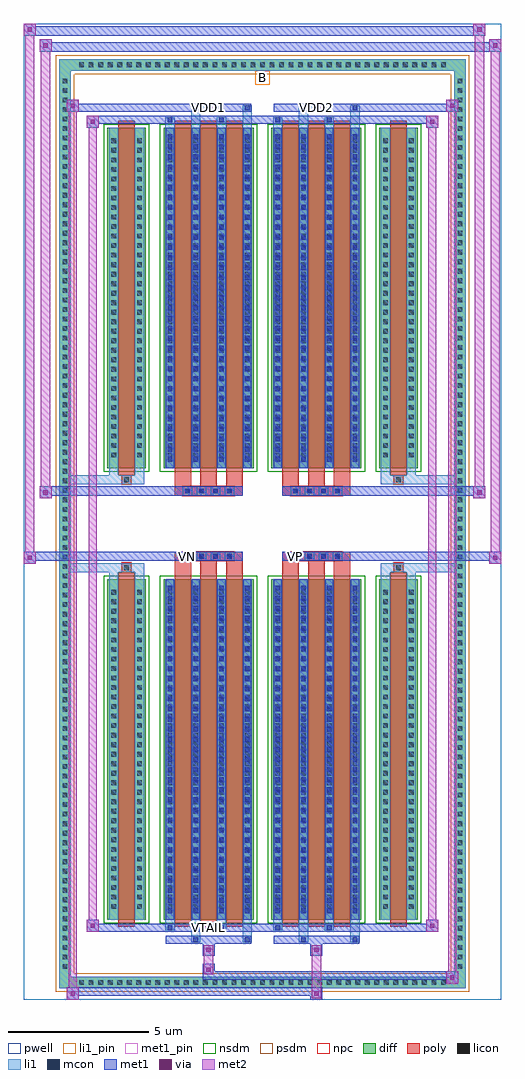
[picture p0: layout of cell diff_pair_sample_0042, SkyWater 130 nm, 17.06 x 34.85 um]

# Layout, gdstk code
import gdstk
lib = gdstk.Library(unit=1e-6, precision=5e-09)
def R(c, l, rs):  # rectangles x0, y0, x1, y1
    for r in rs: c.add(gdstk.rectangle(r[:2], r[2:], *l))
def A(c, l, x, y, w, h, nx, ny, dx, dy):  # array of equal rectangles
    R(c, l, [(x+i*dx, y+j*dy, x+i*dx+w, y+j*dy+h) for i in range(nx) for j in range(ny)])
def P(c, l, *ps):  # polygons
    for p in ps: c.add(gdstk.Polygon(p, *l))
pwell = (64, 44)
diff = (65, 20)
poly = (66, 20)
licon = (66, 44)
li1_pin = (67, 16)
li1 = (67, 20)
mcon = (67, 44)
met1_pin = (68, 16)
met1 = (68, 20)
via = (68, 44)
met2 = (69, 20)
nsdm = (93, 44)
psdm = (94, 20)
npc = (95, 20)

diff_pair_sample_0042 = lib.new_cell('diff_pair_sample_0042')
R(diff_pair_sample_0042, pwell, [(-8.53,-16.99,8.53,17.86), (-5.85,-15.18,-0.01,-0.8), (0.01,-15.18,5.85,-0.8), (-5.85,0.8,-0.01,15.18), (0.01,0.8,5.85,15.18)])
A(diff_pair_sample_0042, diff, -6.665, -16.59, 0.41, 0.41, 39, 2, 0.34, 32.77)
A(diff_pair_sample_0042, diff, -7.26, -16.015, 0.41, 0.41, 1, 94, 0, 0.34)
A(diff_pair_sample_0042, diff, 6.85, -16.015, 0.41, 0.41, 1, 94, 0, 0.34)
R(diff_pair_sample_0042, diff, [(-6.665,-16.59,6.665,-16.18), (-7.26,-16.015,-6.85,16.015), (6.85,-16.015,7.26,16.015), (-5.54,-14.135,-4.17,-1.985), (-3.53,-14.135,-0.32,-1.985), (0.32,-14.135,3.53,-1.985), (4.17,-14.135,5.54,-1.985), (-5.54,1.985,-4.17,14.135), (-3.53,1.985,-0.32,14.135), (0.32,1.985,3.53,14.135), (4.17,1.985,5.54,14.135), (-6.665,16.18,6.665,16.59)])
P(diff_pair_sample_0042, diff, [(7.26,16.59),(-7.26,16.59),(-7.26,-16.18),(-6.85,-16.18),(-6.85,16.18),(6.85,16.18),(6.85,-16.18),(-6.85,-16.18),(-7.26,-16.18),(-7.26,-16.59),(7.26,-16.59)])
A(diff_pair_sample_0042, poly, -3.14, -14.385, 0.59, 12.65, 3, 2, 0.92, 16.12)
A(diff_pair_sample_0042, poly, 0.71, -14.385, 0.59, 12.65, 3, 2, 0.92, 16.12)
A(diff_pair_sample_0042, poly, -3.14, -1.735, 0.59, 0.405, 3, 2, 0.92, 3.065)
A(diff_pair_sample_0042, poly, 0.71, -1.735, 0.59, 0.405, 3, 2, 0.92, 3.065)
A(diff_pair_sample_0042, poly, -2.84, -1.33, 0.33, 0.33, 4, 2, 0.5, 2.33)
A(diff_pair_sample_0042, poly, 1.01, -1.33, 0.33, 0.33, 4, 2, 0.5, 2.33)
R(diff_pair_sample_0042, poly, [(-5.15,-14.385,-4.56,-1.735), (4.56,-14.385,5.15,-1.735), (-5.02,-1.735,-4.69,-1.405), (-5.02,-1.735,-4.69,-1.405), (4.69,-1.735,5.02,-1.405), (4.69,-1.735,5.02,-1.405), (-3.14,-1.33,-0.71,-1), (0.71,-1.33,3.14,-1), (-3.14,1,-0.71,1.33), (0.71,1,3.14,1.33), (-5.02,1.405,-4.69,1.735), (-5.02,1.405,-4.69,1.735), (4.69,1.405,5.02,1.735), (4.69,1.405,5.02,1.735), (-5.15,1.735,-4.56,14.385), (4.56,1.735,5.15,14.385)])
A(diff_pair_sample_0042, licon, -6.545, -16.47, 0.17, 0.17, 39, 2, 0.34, 32.77)
A(diff_pair_sample_0042, licon, -7.14, -15.895, 0.17, 0.17, 1, 94, 0, 0.34)
A(diff_pair_sample_0042, licon, 6.97, -15.895, 0.17, 0.17, 1, 94, 0, 0.34)
A(diff_pair_sample_0042, licon, -5.4, -13.755, 0.17, 0.17, 1, 34, 0, 0.34)
A(diff_pair_sample_0042, licon, -4.48, -13.755, 0.17, 0.17, 1, 34, 0, 0.34)
A(diff_pair_sample_0042, licon, -3.39, -13.755, 0.17, 0.17, 4, 34, 0.92, 0.34)
A(diff_pair_sample_0042, licon, 0.46, -13.755, 0.17, 0.17, 4, 34, 0.92, 0.34)
A(diff_pair_sample_0042, licon, 4.31, -13.755, 0.17, 0.17, 1, 34, 0, 0.34)
A(diff_pair_sample_0042, licon, 5.23, -13.755, 0.17, 0.17, 1, 34, 0, 0.34)
A(diff_pair_sample_0042, licon, -2.76, -1.25, 0.17, 0.17, 4, 2, 0.5, 2.33)
A(diff_pair_sample_0042, licon, 1.09, -1.25, 0.17, 0.17, 4, 2, 0.5, 2.33)
A(diff_pair_sample_0042, licon, -5.4, 2.365, 0.17, 0.17, 1, 34, 0, 0.34)
A(diff_pair_sample_0042, licon, -4.48, 2.365, 0.17, 0.17, 1, 34, 0, 0.34)
A(diff_pair_sample_0042, licon, -3.39, 2.365, 0.17, 0.17, 4, 34, 0.92, 0.34)
A(diff_pair_sample_0042, licon, 0.46, 2.365, 0.17, 0.17, 4, 34, 0.92, 0.34)
A(diff_pair_sample_0042, licon, 4.31, 2.365, 0.17, 0.17, 1, 34, 0, 0.34)
A(diff_pair_sample_0042, licon, 5.23, 2.365, 0.17, 0.17, 1, 34, 0, 0.34)
R(diff_pair_sample_0042, licon, [(-4.94,-1.655,-4.77,-1.485), (4.77,-1.655,4.94,-1.485), (-4.94,1.485,-4.77,1.655), (4.77,1.485,4.94,1.655)])
R(diff_pair_sample_0042, li1_pin, [(-0.25,15.68,0.25,16.18)])
A(diff_pair_sample_0042, li1, -6.625, -16.55, 0.33, 0.33, 39, 2, 0.34, 32.77)
A(diff_pair_sample_0042, li1, -7.22, -15.975, 0.33, 0.33, 1, 94, 0, 0.34)
A(diff_pair_sample_0042, li1, 6.89, -15.975, 0.33, 0.33, 1, 94, 0, 0.34)
A(diff_pair_sample_0042, li1, -3.47, -14.135, 0.33, 12.15, 4, 2, 0.92, 16.12)
A(diff_pair_sample_0042, li1, 0.38, -14.135, 0.33, 12.15, 4, 2, 0.92, 16.12)
A(diff_pair_sample_0042, li1, -3.39, -13.905, 0.17, 0.17, 4, 33, 0.92, 0.36)
A(diff_pair_sample_0042, li1, -3.39, -13.905, 0.17, 11.69, 4, 2, 0.92, 16.12)
A(diff_pair_sample_0042, li1, 0.46, -13.905, 0.17, 0.17, 4, 33, 0.92, 0.36)
A(diff_pair_sample_0042, li1, 0.46, -13.905, 0.17, 11.69, 4, 2, 0.92, 16.12)
A(diff_pair_sample_0042, li1, -5.48, -13.835, 0.33, 0.33, 1, 34, 0, 0.34)
A(diff_pair_sample_0042, li1, -4.56, -13.835, 0.33, 0.33, 1, 34, 0, 0.34)
A(diff_pair_sample_0042, li1, -3.47, -13.835, 0.33, 0.33, 4, 34, 0.92, 0.34)
A(diff_pair_sample_0042, li1, 0.38, -13.835, 0.33, 0.33, 4, 34, 0.92, 0.34)
A(diff_pair_sample_0042, li1, 4.23, -13.835, 0.33, 0.33, 1, 34, 0, 0.34)
A(diff_pair_sample_0042, li1, 5.15, -13.835, 0.33, 0.33, 1, 34, 0, 0.34)
A(diff_pair_sample_0042, li1, -2.84, -1.33, 0.33, 0.33, 4, 2, 0.5, 2.33)
A(diff_pair_sample_0042, li1, 1.01, -1.33, 0.33, 0.33, 4, 2, 0.5, 2.33)
A(diff_pair_sample_0042, li1, -3.39, 2.215, 0.17, 0.17, 4, 33, 0.92, 0.36)
A(diff_pair_sample_0042, li1, 0.46, 2.215, 0.17, 0.17, 4, 33, 0.92, 0.36)
A(diff_pair_sample_0042, li1, -5.48, 2.285, 0.33, 0.33, 1, 34, 0, 0.34)
A(diff_pair_sample_0042, li1, -4.56, 2.285, 0.33, 0.33, 1, 34, 0, 0.34)
A(diff_pair_sample_0042, li1, -3.47, 2.285, 0.33, 0.33, 4, 34, 0.92, 0.34)
A(diff_pair_sample_0042, li1, 0.38, 2.285, 0.33, 0.33, 4, 34, 0.92, 0.34)
A(diff_pair_sample_0042, li1, 4.23, 2.285, 0.33, 0.33, 1, 34, 0, 0.34)
A(diff_pair_sample_0042, li1, 5.15, 2.285, 0.33, 0.33, 1, 34, 0, 0.34)
R(diff_pair_sample_0042, li1, [(-7.26,-16.59,-6.85,-16.18), (-7.26,-16.59,-6.85,-16.18), (-6.85,-16.59,6.85,-16.18), (6.85,-16.59,7.26,-16.18), (6.85,-16.59,7.26,-16.18), (-7.26,-16.18,-6.85,16.18), (6.85,-16.18,7.26,16.18), (-2.55,-14.94,-2.22,-14.135), (-2.47,-14.94,-2.3,-14.77), (-0.71,-14.94,-0.38,-14.135), (-0.63,-14.94,-0.46,-14.77), (1.3,-14.94,1.63,-14.135), (1.38,-14.94,1.55,-14.77), (3.14,-14.94,3.47,-14.135), (3.22,-14.94,3.39,-14.77), (-3.47,-14.51,-3.14,-14.135), (-3.39,-14.51,-3.22,-14.34), (-1.63,-14.51,-1.3,-14.135), (-1.55,-14.51,-1.38,-14.34), (0.38,-14.51,0.71,-14.135), (0.46,-14.51,0.63,-14.34), (2.22,-14.51,2.55,-14.135), (2.3,-14.51,2.47,-14.34), (-5.48,-14.135,-5.15,-1.985), (-4.56,-14.135,-4.23,-1.985), (4.23,-14.135,4.56,-1.985), (5.15,-14.135,5.48,-1.985), (-5.48,-1.985,-5.15,-1.405), (-4.56,-1.985,-4.23,-1.405), (4.23,-1.985,4.56,-1.405), (5.15,-1.985,5.48,-1.405), (-7.26,-1.735,-5.02,-1.405), (-5.48,-1.735,-5.02,-1.405), (-5.02,-1.735,-4.69,-1.405), (-4.69,-1.735,-4.23,-1.405), (4.23,-1.735,4.69,-1.405), (4.69,-1.735,5.02,-1.405), (4.69,-1.735,7.26,-1.405), (5.02,-1.735,5.48,-1.405), (-7.26,1.405,-5.02,1.735), (-5.48,1.405,-5.02,1.735), (-5.48,1.405,-5.15,1.985), (-5.02,1.405,-4.69,1.735), (-4.69,1.405,-4.23,1.735), (-4.56,1.405,-4.23,1.985), (4.23,1.405,4.69,1.735), (4.23,1.405,4.56,1.985), (4.69,1.405,5.02,1.735), (4.69,1.405,7.26,1.735), (5.02,1.405,5.48,1.735), (5.15,1.405,5.48,1.985), (-5.48,1.985,-5.15,14.135), (-4.56,1.985,-4.23,14.135), (4.23,1.985,4.56,14.135), (5.15,1.985,5.48,14.135), (-3.47,14.135,-3.14,14.51), (-2.55,14.135,-2.22,14.94), (-1.63,14.135,-1.3,14.51), (-0.71,14.135,-0.38,14.94), (0.38,14.135,0.71,14.51), (1.3,14.135,1.63,14.94), (2.22,14.135,2.55,14.51), (3.14,14.135,3.47,14.94), (-3.39,14.34,-3.22,14.51), (-1.55,14.34,-1.38,14.51), (0.46,14.34,0.63,14.51), (2.3,14.34,2.47,14.51), (-2.47,14.77,-2.3,14.94), (-0.63,14.77,-0.46,14.94), (1.38,14.77,1.55,14.94), (3.22,14.77,3.39,14.94), (-7.26,16.18,-6.85,16.59), (-7.26,16.18,-6.85,16.59), (-6.85,16.18,6.85,16.59), (6.85,16.18,7.26,16.59), (6.85,16.18,7.26,16.59)])
A(diff_pair_sample_0042, mcon, -3.39, -13.905, 0.17, 0.17, 4, 33, 0.92, 0.36)
A(diff_pair_sample_0042, mcon, 0.46, -13.905, 0.17, 0.17, 4, 33, 0.92, 0.36)
A(diff_pair_sample_0042, mcon, -2.76, -1.25, 0.17, 0.17, 4, 2, 0.5, 2.33)
A(diff_pair_sample_0042, mcon, 1.09, -1.25, 0.17, 0.17, 4, 2, 0.5, 2.33)
A(diff_pair_sample_0042, mcon, -3.39, 2.215, 0.17, 0.17, 4, 33, 0.92, 0.36)
A(diff_pair_sample_0042, mcon, 0.46, 2.215, 0.17, 0.17, 4, 33, 0.92, 0.36)
R(diff_pair_sample_0042, mcon, [(-2.47,-14.94,-2.3,-14.77), (-0.63,-14.94,-0.46,-14.77), (1.38,-14.94,1.55,-14.77), (3.22,-14.94,3.39,-14.77), (-3.39,-14.51,-3.22,-14.34), (-1.55,-14.51,-1.38,-14.34), (0.46,-14.51,0.63,-14.34), (2.3,-14.51,2.47,-14.34), (-3.39,14.34,-3.22,14.51), (-1.55,14.34,-1.38,14.51), (0.46,14.34,0.63,14.51), (2.3,14.34,2.47,14.51), (-2.47,14.77,-2.3,14.94), (-0.63,14.77,-0.46,14.94), (1.38,14.77,1.55,14.94), (3.22,14.77,3.39,14.94)])
R(diff_pair_sample_0042, met1_pin, [(-2.06,-14.55,-1.79,-14.28), (-2.81,-1.29,-2.54,-1.02), (1.04,-1.29,1.31,-1.02), (-2.06,14.73,-1.79,15), (1.79,14.73,2.06,15)])
A(diff_pair_sample_0042, met1, -3.45, -14.135, 0.29, 12.15, 4, 2, 0.92, 16.12)
A(diff_pair_sample_0042, met1, 0.4, -14.135, 0.29, 12.15, 4, 2, 0.92, 16.12)
A(diff_pair_sample_0042, met1, -3.45, -13.965, 0.29, 0.29, 4, 33, 0.92, 0.36)
A(diff_pair_sample_0042, met1, 0.4, -13.965, 0.29, 0.29, 4, 33, 0.92, 0.36)
A(diff_pair_sample_0042, met1, -2.82, -1.31, 0.29, 0.29, 4, 2, 0.5, 2.33)
A(diff_pair_sample_0042, met1, 1.03, -1.31, 0.29, 0.29, 4, 2, 0.5, 2.33)
A(diff_pair_sample_0042, met1, -3.45, 2.155, 0.29, 0.29, 4, 33, 0.92, 0.36)
A(diff_pair_sample_0042, met1, 0.4, 2.155, 0.29, 0.29, 4, 33, 0.92, 0.36)
R(diff_pair_sample_0042, met1, [(-6.99,-16.99,-6.56,-16.56), (1.71,-16.99,2.14,-16.56), (-6.99,-16.85,2.14,-16.56), (6.56,-16.42,6.99,-15.99), (-2.14,-16.28,6.99,-15.99), (-2.14,-16.14,-1.71,-15.71), (-2.14,-15.43,-1.71,-15), (1.71,-15.43,2.14,-15), (-3.45,-15,-0.4,-14.71), (-2.53,-15,-2.24,-14.71), (-0.69,-15,-0.4,-14.71), (0.4,-15,3.45,-14.71), (1.32,-15,1.61,-14.71), (3.16,-15,3.45,-14.71), (-6.28,-14.57,-5.85,-14.14), (-6.28,-14.57,-3.45,-14.28), (-3.45,-14.57,-3.16,-14.28), (-3.45,-14.57,-0.4,-14.28), (-1.61,-14.57,-1.32,-14.28), (-0.4,-14.57,0.4,-14.28), (0.4,-14.57,0.69,-14.28), (0.4,-14.57,3.45,-14.28), (2.24,-14.57,2.53,-14.28), (3.45,-14.57,6.28,-14.28), (5.85,-14.57,6.28,-14.14), (-8.53,-1.43,-8.1,-1), (8.1,-1.43,8.53,-1), (-8.53,-1.33,-0.71,-1), (-3.14,-1.33,-0.71,-1), (0.71,-1.33,3.14,-1), (0.71,-1.33,8.53,-1), (-7.96,0.9,-7.53,1.33), (7.53,0.9,7.96,1.33), (-7.96,1,-3.14,1.33), (-3.14,1,-0.71,1.33), (0.71,1,3.14,1.33), (3.14,1,7.96,1.33), (-6.28,14.14,-5.85,14.57), (5.85,14.14,6.28,14.57), (-6.28,14.28,-3.45,14.57), (-3.45,14.28,-3.16,14.57), (-3.45,14.28,-0.4,14.57), (-1.61,14.28,-1.32,14.57), (-0.4,14.28,0.4,14.57), (0.4,14.28,0.69,14.57), (0.4,14.28,3.45,14.57), (2.24,14.28,2.53,14.57), (3.45,14.28,6.28,14.57), (-6.99,14.71,-6.56,15.14), (-6.99,14.71,-3.45,15), (-3.45,14.71,-0.4,15), (-2.53,14.71,-2.24,15), (-0.69,14.71,-0.4,15), (0.4,14.71,3.45,15), (1.32,14.71,1.61,15), (3.16,14.71,3.45,15), (3.45,14.71,6.99,15), (6.56,14.71,6.99,15.14), (-7.96,16.86,-7.53,17.29), (-7.96,16.86,-5.85,17.19), (-5.85,16.86,5.85,17.19), (5.85,16.86,8.53,17.19), (8.1,16.86,8.53,17.29), (-8.53,17.43,-8.1,17.86), (-8.53,17.43,-5.85,17.76), (-5.85,17.43,5.85,17.76), (5.85,17.43,7.96,17.76), (7.53,17.43,7.96,17.86)])
R(diff_pair_sample_0042, via, [(-6.85,-16.85,-6.7,-16.7), (1.85,-16.85,2,-16.7), (6.7,-16.28,6.85,-16.13), (-2,-16,-1.85,-15.85), (-2,-15.29,-1.85,-15.14), (1.85,-15.29,2,-15.14), (-6.14,-14.43,-5.99,-14.28), (5.99,-14.43,6.14,-14.28), (-8.39,-1.29,-8.24,-1.14), (8.24,-1.29,8.39,-1.14), (-7.82,1.04,-7.67,1.19), (7.67,1.04,7.82,1.19), (-6.14,14.28,-5.99,14.43), (5.99,14.28,6.14,14.43), (-6.85,14.85,-6.7,15), (6.7,14.85,6.85,15), (-7.82,17,-7.67,17.15), (8.24,17,8.39,17.15), (-8.39,17.57,-8.24,17.72), (7.67,17.57,7.82,17.72)])
R(diff_pair_sample_0042, met2, [(-6.99,-16.99,-6.56,-16.56), (-6.92,-16.99,-6.63,15.14), (-6.63,-16.99,-6.56,-16.56), (-6.94,-16.94,-6.61,-16.61), (1.76,-16.94,2.09,-16.61), (1.76,-16.61,2.09,-15.38), (6.56,-16.42,6.99,-15.99), (6.63,-16.42,6.92,15.14), (6.92,-16.42,6.99,-15.99), (6.61,-16.37,6.94,-16.04), (-2.09,-16.09,-1.76,-15.76), (-2.09,-15.76,-1.76,-15.38), (-2.09,-15.38,-1.76,-15.05), (1.76,-15.38,2.09,-15.05), (-6.28,-14.57,-5.85,-14.14), (-6.21,-14.57,-5.92,14.57), (-5.92,-14.57,-5.85,-14.14), (5.85,-14.57,6.28,-14.14), (5.92,-14.57,6.21,14.57), (6.21,-14.57,6.28,-14.14), (-6.23,-14.52,-5.9,-14.19), (5.9,-14.52,6.23,-14.19), (-8.53,-1.43,-8.1,-1), (-8.48,-1.43,-8.15,17.86), (-8.15,-1.43,-8.1,-1), (8.1,-1.43,8.53,-1), (8.15,-1.43,8.48,17.29), (8.48,-1.43,8.53,-1), (-8.48,-1.38,-8.15,-1.05), (8.15,-1.38,8.48,-1.05), (-7.96,0.9,-7.53,1.33), (-7.91,0.9,-7.58,17.29), (-7.58,0.9,-7.53,1.33), (7.53,0.9,7.96,1.33), (7.58,0.9,7.91,17.86), (7.91,0.9,7.96,1.33), (-7.91,0.95,-7.58,1.28), (7.58,0.95,7.91,1.28), (-6.28,14.14,-5.85,14.57), (-5.92,14.14,-5.85,14.57), (5.85,14.14,6.28,14.57), (6.21,14.14,6.28,14.57), (-6.23,14.19,-5.9,14.52), (5.9,14.19,6.23,14.52), (-6.99,14.71,-6.56,15.14), (-6.63,14.71,-6.56,15.14), (6.56,14.71,6.99,15.14), (6.92,14.71,6.99,15.14), (-6.94,14.76,-6.61,15.09), (6.61,14.76,6.94,15.09), (-7.96,16.86,-7.53,17.29), (-7.58,16.86,-7.53,17.29), (8.1,16.86,8.53,17.29), (8.48,16.86,8.53,17.29), (-7.91,16.91,-7.58,17.24), (8.15,16.91,8.48,17.24), (-8.53,17.43,-8.1,17.86), (-8.15,17.43,-8.1,17.86), (7.53,17.43,7.96,17.86), (7.91,17.43,7.96,17.86), (-8.48,17.48,-8.15,17.81), (7.58,17.48,7.91,17.81)])
R(diff_pair_sample_0042, nsdm, [(-5.67,-14.265,-4.04,-1.855), (-3.66,-14.265,-0.19,-1.855), (0.19,-14.265,3.66,-1.855), (4.04,-14.265,5.67,-1.855), (-5.67,1.855,-4.04,14.265), (-3.66,1.855,-0.19,14.265), (0.19,1.855,3.66,14.265), (4.04,1.855,5.67,14.265)])
P(diff_pair_sample_0042, psdm, [(7.39,16.72),(-7.39,16.72),(-7.39,-16.05),(-6.72,-16.05),(-6.72,16.05),(6.72,16.05),(6.72,-16.05),(-6.72,-16.05),(-7.39,-16.05),(-7.39,-16.72),(7.39,-16.72)])
A(diff_pair_sample_0042, npc, -2.86, -1.35, 0.37, 0.37, 4, 2, 0.5, 2.33)
A(diff_pair_sample_0042, npc, 0.99, -1.35, 0.37, 0.37, 4, 2, 0.5, 2.33)
R(diff_pair_sample_0042, npc, [(-5.04,-1.755,-4.67,-1.385), (4.67,-1.755,5.04,-1.385), (-2.86,-1.35,-1.99,-0.98), (-2.86,-1.35,-1.99,-0.98), (-2.36,-1.35,-1.49,-0.98), (-2.36,-1.35,-1.49,-0.98), (-1.86,-1.35,-0.99,-0.98), (-1.86,-1.35,-0.99,-0.98), (0.99,-1.35,1.86,-0.98), (0.99,-1.35,1.86,-0.98), (1.49,-1.35,2.36,-0.98), (1.49,-1.35,2.36,-0.98), (1.99,-1.35,2.86,-0.98), (1.99,-1.35,2.86,-0.98), (-2.86,0.98,-1.99,1.35), (-2.86,0.98,-1.99,1.35), (-2.36,0.98,-1.49,1.35), (-2.36,0.98,-1.49,1.35), (-1.86,0.98,-0.99,1.35), (-1.86,0.98,-0.99,1.35), (0.99,0.98,1.86,1.35), (0.99,0.98,1.86,1.35), (1.49,0.98,2.36,1.35), (1.49,0.98,2.36,1.35), (1.99,0.98,2.86,1.35), (1.99,0.98,2.86,1.35), (-5.04,1.385,-4.67,1.755), (4.67,1.385,5.04,1.755)])
diff_pair_sample_0042.add(gdstk.Label('VTAIL', (-1.925,-14.415), layer=68, texttype=5))
diff_pair_sample_0042.add(gdstk.Label('VN', (-2.675,-1.155), layer=68, texttype=5))
diff_pair_sample_0042.add(gdstk.Label('VP', (1.175,-1.155), layer=68, texttype=5))
diff_pair_sample_0042.add(gdstk.Label('B', (0,15.93), layer=67, texttype=5))
diff_pair_sample_0042.add(gdstk.Label('VDD2', (1.925,14.865), layer=68, texttype=5))
diff_pair_sample_0042.add(gdstk.Label('VDD1', (-1.925,14.865), layer=68, texttype=5))

lib.write_gds('diff_pair_sample_0042.gds')
